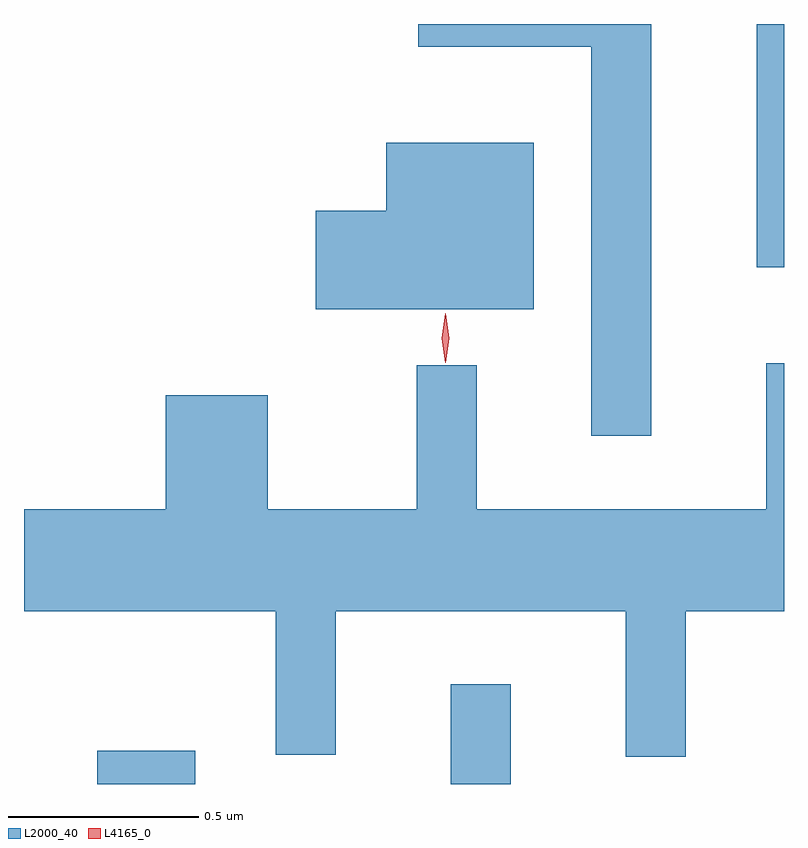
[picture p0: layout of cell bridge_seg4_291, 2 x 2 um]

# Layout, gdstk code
import gdstk
lib = gdstk.Library(unit=1e-6, precision=1e-09)
def R(c, l, rs):  # rectangles x0, y0, x1, y1
    for r in rs: c.add(gdstk.rectangle(r[:2], r[2:], *l))
def P(c, l, *ps):  # polygons
    for p in ps: c.add(gdstk.Polygon(p, *l))
L2000_40 = (2000, 40)
L4165_0 = (4165, 0)

bridge_seg4_291 = lib.new_cell('bridge_seg4_291')
R(bridge_seg4_291, L2000_40, [(414.696,1374.201,414.954,1374.289), (415.626,1374.201,415.784,1374.463), (416.431,1375.561,416.503,1376.201)])
P(bridge_seg4_291, L2000_40, [(416.154,1376.201),(415.541,1376.201),(415.541,1376.141),(415.996,1376.141),(415.996,1375.118),(416.154,1375.118)],
  [(415.844,1375.889),(415.456,1375.889),(415.456,1375.709),(415.271,1375.709),(415.271,1375.451),(415.844,1375.451)],
  [(416.244,1374.656),(416.503,1374.656),(416.503,1375.308),(416.456,1375.308),(416.456,1374.924),(415.694,1374.924),(415.694,1375.303),(415.536,1375.303),(415.536,1374.924),(415.144,1374.924),(415.144,1375.224),(414.876,1375.224),(414.876,1374.924),(414.503,1374.924),(414.503,1374.656),(415.166,1374.656),(415.166,1374.278),(415.324,1374.278),(415.324,1374.656),(416.086,1374.656),(416.086,1374.273),(416.244,1374.273)])
P(bridge_seg4_291, L4165_0, [(415.612,1375.309),(415.612,1375.309),(415.602,1375.374),(415.612,1375.439),(415.612,1375.44),(415.613,1375.439),(415.622,1375.374),(415.613,1375.309)])

lib.write_gds('bridge_seg4_291.gds')
